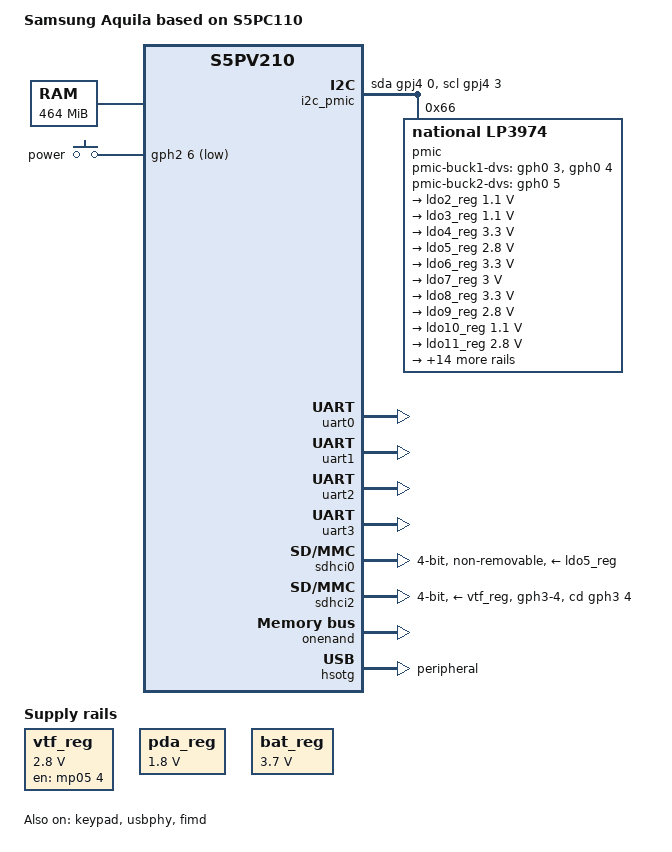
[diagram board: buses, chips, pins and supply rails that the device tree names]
// SPDX-License-Identifier: GPL-2.0
/*
 * Samsung's S5PV210 SoC device tree source
 *
 * Copyright (c) 2013-2014 Samsung Electronics, Co. Ltd.
 *
 * Mateusz Krawczuk <m.krawczuk@partner.samsung.com>
 * Tomasz Figa <t.figa@samsung.com>
 *
 * Board device tree source for Samsung Aquila board.
 */

/dts-v1/;
#include <dt-bindings/gpio/gpio.h>
#include <dt-bindings/input/input.h>
#include "s5pv210.dtsi"

/ {
	model = "Samsung Aquila based on S5PC110";
	compatible = "samsung,aquila", "samsung,s5pv210";

	aliases {
		i2c3 = &i2c_pmic;
	};

	chosen {
		bootargs = "console=ttySAC2,115200n8 root=/dev/mmcblk1p5 rw rootwait ignore_loglevel earlyprintk";
	};

	memory@30000000 {
		device_type = "memory";
		reg = <0x30000000 0x05000000
			0x40000000 0x18000000>;
	};

	pmic_ap_clk: clock-0 {
		/* Workaround for missing clock on PMIC */
		compatible = "fixed-clock";
		#clock-cells = <0>;
		clock-frequency = <32768>;
	};

	vtf_reg: regulator-0 {
		compatible = "regulator-fixed";
		regulator-name = "V_TF_2.8V";
		regulator-min-microvolt = <2800000>;
		regulator-max-microvolt = <2800000>;
		gpio = <&mp05 4 GPIO_ACTIVE_HIGH>;
		enable-active-high;
	};

	pda_reg: regulator-1 {
		compatible = "regulator-fixed";
		regulator-name = "VCC_1.8V_PDA";
		regulator-min-microvolt = <1800000>;
		regulator-max-microvolt = <1800000>;
	};

	bat_reg: regulator-2 {
		compatible = "regulator-fixed";
		regulator-name = "V_BAT";
		regulator-min-microvolt = <3700000>;
		regulator-max-microvolt = <3700000>;
	};

	i2c_pmic: i2c-pmic {
		compatible = "i2c-gpio";
		sda-gpios = <&gpj4 0 GPIO_ACTIVE_HIGH>;
		scl-gpios = <&gpj4 3 GPIO_ACTIVE_HIGH>;
		i2c-gpio,delay-us = <2>;        /* ~100 kHz */
		#address-cells = <1>;
		#size-cells = <0>;

		pmic@66 {
			compatible = "national,lp3974";
			reg = <0x66>;

			max8998,pmic-buck1-default-dvs-idx = <0>;
			max8998,pmic-buck1-dvs-gpios = <&gph0 3 GPIO_ACTIVE_HIGH>,
							<&gph0 4 GPIO_ACTIVE_HIGH>;
			max8998,pmic-buck1-dvs-voltage = <1200000>, <1200000>,
							<1200000>, <1200000>;

			max8998,pmic-buck2-default-dvs-idx = <0>;
			max8998,pmic-buck2-dvs-gpio = <&gph0 5 GPIO_ACTIVE_HIGH>;
			max8998,pmic-buck2-dvs-voltage = <1200000>, <1200000>;

			regulators {
				ldo2_reg: LDO2 {
					regulator-name = "VALIVE_1.1V";
					regulator-min-microvolt = <1100000>;
					regulator-max-microvolt = <1100000>;
					regulator-always-on;
				};

				ldo3_reg: LDO3 {
					regulator-name = "VUSB+MIPI_1.1V";
					regulator-min-microvolt = <1100000>;
					regulator-max-microvolt = <1100000>;
					regulator-always-on;
				};

				ldo4_reg: LDO4 {
					regulator-name = "VADC_3.3V";
					regulator-min-microvolt = <3300000>;
					regulator-max-microvolt = <3300000>;
				};

				ldo5_reg: LDO5 {
					regulator-name = "VTF_2.8V";
					regulator-min-microvolt = <2800000>;
					regulator-max-microvolt = <2800000>;
					regulator-always-on;
				};

				ldo6_reg: LDO6 {
					regulator-name = "VCC_3.3V";
					regulator-min-microvolt = <3300000>;
					regulator-max-microvolt = <3300000>;
					regulator-always-on;
				};

				ldo7_reg: LDO7 {
					regulator-name = "VCC_3.0V";
					regulator-min-microvolt = <3000000>;
					regulator-max-microvolt = <3000000>;
					regulator-always-on;
					regulator-boot-on;
				};

				ldo8_reg: LDO8 {
					regulator-name = "VUSB+VDAC_3.3V";
					regulator-min-microvolt = <3300000>;
					regulator-max-microvolt = <3300000>;
					regulator-always-on;
				};

				ldo9_reg: LDO9 {
					regulator-name = "VCC+VCAM_2.8V";
					regulator-min-microvolt = <2800000>;
					regulator-max-microvolt = <2800000>;
					regulator-always-on;
				};

				ldo10_reg: LDO10 {
					regulator-name = "VPLL_1.1V";
					regulator-min-microvolt = <1100000>;
					regulator-max-microvolt = <1100000>;
					regulator-always-on;
					regulator-boot-on;
				};

				ldo11_reg: LDO11 {
					regulator-name = "CAM_IO_2.8V";
					regulator-min-microvolt = <2800000>;
					regulator-max-microvolt = <2800000>;
					regulator-always-on;
				};

				ldo12_reg: LDO12 {
					regulator-name = "CAM_ISP_1.2V";
					regulator-min-microvolt = <1200000>;
					regulator-max-microvolt = <1200000>;
					regulator-always-on;
				};

				ldo13_reg: LDO13 {
					regulator-name = "CAM_A_2.8V";
					regulator-min-microvolt = <2800000>;
					regulator-max-microvolt = <2800000>;
					regulator-always-on;
				};

				ldo14_reg: LDO14 {
					regulator-name = "CAM_CIF_1.8V";
					regulator-min-microvolt = <1800000>;
					regulator-max-microvolt = <1800000>;
					regulator-always-on;
				};

				ldo15_reg: LDO15 {
					regulator-name = "CAM_AF_3.3V";
					regulator-min-microvolt = <3300000>;
					regulator-max-microvolt = <3300000>;
					regulator-always-on;
				};

				ldo16_reg: LDO16 {
					regulator-name = "VMIPI_1.8V";
					regulator-min-microvolt = <1800000>;
					regulator-max-microvolt = <1800000>;
					regulator-always-on;
				};

				ldo17_reg: LDO17 {
					regulator-name = "CAM_8M_1.8V";
					regulator-min-microvolt = <1800000>;
					regulator-max-microvolt = <1800000>;
					regulator-always-on;
				};

				buck1_reg: BUCK1 {
					regulator-name = "VARM_1.2V";
					regulator-min-microvolt = <1200000>;
					regulator-max-microvolt = <1200000>;
					regulator-always-on;
				};

				buck2_reg: BUCK2 {
					regulator-name = "VINT_1.2V";
					regulator-min-microvolt = <1200000>;
					regulator-max-microvolt = <1200000>;
					regulator-always-on;
				};

				buck3_reg: BUCK3 {
					regulator-name = "VCC_1.8V";
					regulator-min-microvolt = <1800000>;
					regulator-max-microvolt = <1800000>;
					regulator-always-on;
				};

				buck4_reg: BUCK4 {
					regulator-name = "CAM_CORE_1.2V";
					regulator-min-microvolt = <1200000>;
					regulator-max-microvolt = <1200000>;
					regulator-always-on;
				};

				ap32khz_reg: EN32KHz-AP {
					regulator-name = "32KHz AP";
					regulator-always-on;
				};

				vichg_reg: ENVICHG {
					regulator-name = "VICHG";
				};

				safeout1_reg: ESAFEOUT1 {
					regulator-name = "SAFEOUT1";
					regulator-always-on;
				};

				safeout2_reg: ESAFEOUT2 {
					regulator-name = "SAFEOUT2";
					regulator-boot-on;
				};
			};
		};

	};

	gpio-keys {
		compatible = "gpio-keys";

		power-key {
			gpios = <&gph2 6 1>;
			linux,code = <KEY_POWER>;
			label = "power";
			debounce-interval = <1>;
			wakeup-source;
		};
	};
};

&xusbxti {
	clock-frequency = <24000000>;
};

&keypad {
	linux,input-no-autorepeat;
	wakeup-source;
	samsung,keypad-num-rows = <3>;
	samsung,keypad-num-columns = <3>;
	pinctrl-names = "default";
	pinctrl-0 = <&keypad_row0>, <&keypad_row1>, <&keypad_row2>,
			<&keypad_col0>, <&keypad_col1>, <&keypad_col2>;
	status = "okay";

	key-1 {
		keypad,row = <0>;
		keypad,column = <1>;
		linux,code = <KEY_CONNECT>;
	};

	key-2 {
		keypad,row = <0>;
		keypad,column = <2>;
		linux,code = <KEY_BACK>;
	};

	key-3 {
		keypad,row = <1>;
		keypad,column = <1>;
		linux,code = <KEY_CAMERA_FOCUS>;
	};

	key-4 {
		keypad,row = <1>;
		keypad,column = <2>;
		linux,code = <KEY_VOLUMEUP>;
	};

	key-5 {
		keypad,row = <2>;
		keypad,column = <1>;
		linux,code = <KEY_CAMERA>;
	};

	key-6 {
		keypad,row = <2>;
		keypad,column = <2>;
		linux,code = <KEY_VOLUMEDOWN>;
	};
};

&uart0 {
	status = "okay";
};

&uart1 {
	status = "okay";
};

&uart2 {
	status = "okay";
};

&uart3 {
	status = "okay";
};

&rtc {
	clocks = <&clocks CLK_RTC>, <&pmic_ap_clk>;
	clock-names = "rtc", "rtc_src";
};

&sdhci0 {
	bus-width = <4>;
	non-removable;
	status = "okay";
	vmmc-supply = <&ldo5_reg>;
	pinctrl-0 = <&sd0_clk &sd0_cmd &sd0_bus4>;
	pinctrl-names = "default";
};

&sdhci2 {
	bus-width = <4>;
	cd-gpios = <&gph3 4 1>;
	vmmc-supply = <&vtf_reg>;
	cd-inverted;
	pinctrl-0 = <&sd2_clk &sd2_cmd &sd2_bus4 &t_flash_detect>;
	pinctrl-names = "default";
	status = "okay";
};

&onenand {
	status = "okay";
};

&hsotg {
	vusb_a-supply = <&ldo3_reg>;
	vusb_d-supply = <&ldo8_reg>;
	dr_mode = "peripheral";
	status = "okay";
};

&usbphy {
	status = "okay";
};

&fimd {
	pinctrl-0 = <&lcd_clk &lcd_data24 &pwm1_out>;
	pinctrl-names = "default";
	status = "okay";

	display-timings {
		native-mode = <&timing0>;
		timing0: timing {
			clock-frequency = <0>;
			hactive = <800>;
			vactive = <480>;
			hfront-porch = <16>;
			hback-porch = <16>;
			hsync-len = <2>;
			vback-porch = <3>;
			vfront-porch = <28>;
			vsync-len = <1>;
		};
	};
};

&pinctrl0 {
	t_flash_detect: t-flash-detect {
		samsung,pins = "gph3-4";
		samsung,pin-function = <EXYNOS_PIN_FUNC_INPUT>;
		samsung,pin-pud = <S3C64XX_PIN_PULL_NONE>;
	};
};
